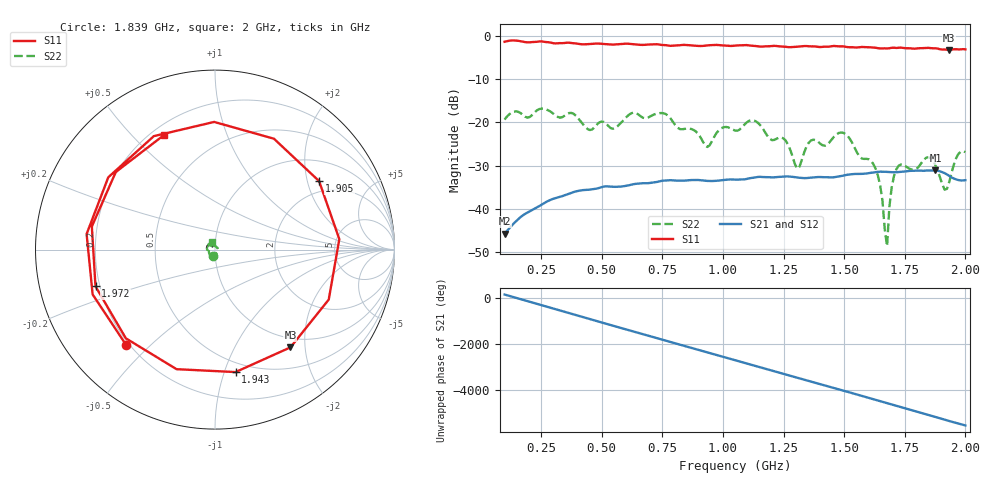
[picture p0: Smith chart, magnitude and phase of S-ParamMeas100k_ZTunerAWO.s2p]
!Keysight Technologies,N5242B,MY48420967,A.15.65.19
!Date: Monday, December 19, 2022 11:34:51
!Correction: S11(C  2-Port  )
!S21(C  2-Port  )
!S12(C  2-Port  )
!S22(C  2-Port  )
!S2P File: Measurements: S11, S21, S12, S22:
# Hz S  dB  R 50
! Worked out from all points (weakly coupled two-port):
!   201 points, 100 MHz to 2 GHz, reference 50 ohm
!   highest |S21| = -31.07 dB at 1.877 GHz (marker M1); lowest = -45.6 dB at 100 MHz (marker M2)
!   lowest |S11| = -3.2 dB at 1.933 GHz (marker M3), VSWR 5.41, Z = 41.6 - j86.1 ohm
!   |S11| at or under -10 dB: nowhere
!   |S22| runs from -48.5 to -16.8 dB; largest |S21 - S12| = 2.1e-05
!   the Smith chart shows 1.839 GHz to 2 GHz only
!   S11 on the Smith chart (normalised r, x): 1.839 GHz: 0.19, -0.42; 1.905 GHz: 1.61, +2.37; 1.943 GHz: 0.42, -1.09; 1.972 GHz: 0.18, -0.15; 2 GHz: 0.25, +0.62
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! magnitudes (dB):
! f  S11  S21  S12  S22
! 100 MHz  -1.4  -45.6  -45.6  -19.3
! 423 MHz  -2.0  -35.6  -35.6  -20.4
! 736.5 MHz  -2.0  -33.6  -33.6  -17.9
! 936 MHz  -2.2  -33.5  -33.5  -25.7
! 1.05 GHz  -2.3  -33.2  -33.2  -21.9
! 1.135 GHz  -2.4  -32.7  -32.7  -19.7
! 1.259 GHz  -2.5  -32.5  -32.5  -24.2
! 1.306 GHz  -2.5  -32.7  -32.7  -30.7
! 1.373 GHz  -2.4  -32.7  -32.7  -24.0
! 1.496 GHz  -2.4  -32.3  -32.3  -22.4
! 1.62 GHz  -2.7  -31.5  -31.5  -29.5
! 1.649 GHz  -2.9  -31.4  -31.4  -34.5
! 1.677 GHz  -2.9  -31.4  -31.4  -48.5
! 1.687 GHz  -2.9  -31.4  -31.4  -39.5
! 1.724 GHz  -2.8  -31.4  -31.4  -30.0
! 1.839 GHz  -2.8  -31.1  -31.1  -28.1
! 1.877 GHz  -2.9  -31.1  -31.1  -29.8
! 1.905 GHz  -3.2  -31.5  -31.5  -34.3
! 1.933 GHz  -3.2  -32.3  -32.3  -33.7
! 1.943 GHz  -3.2  -32.7  -32.7  -31.6
! 1.972 GHz  -3.1  -33.3  -33.3  -27.2
! 2 GHz  -3.1  -33.3  -33.3  -26.8
